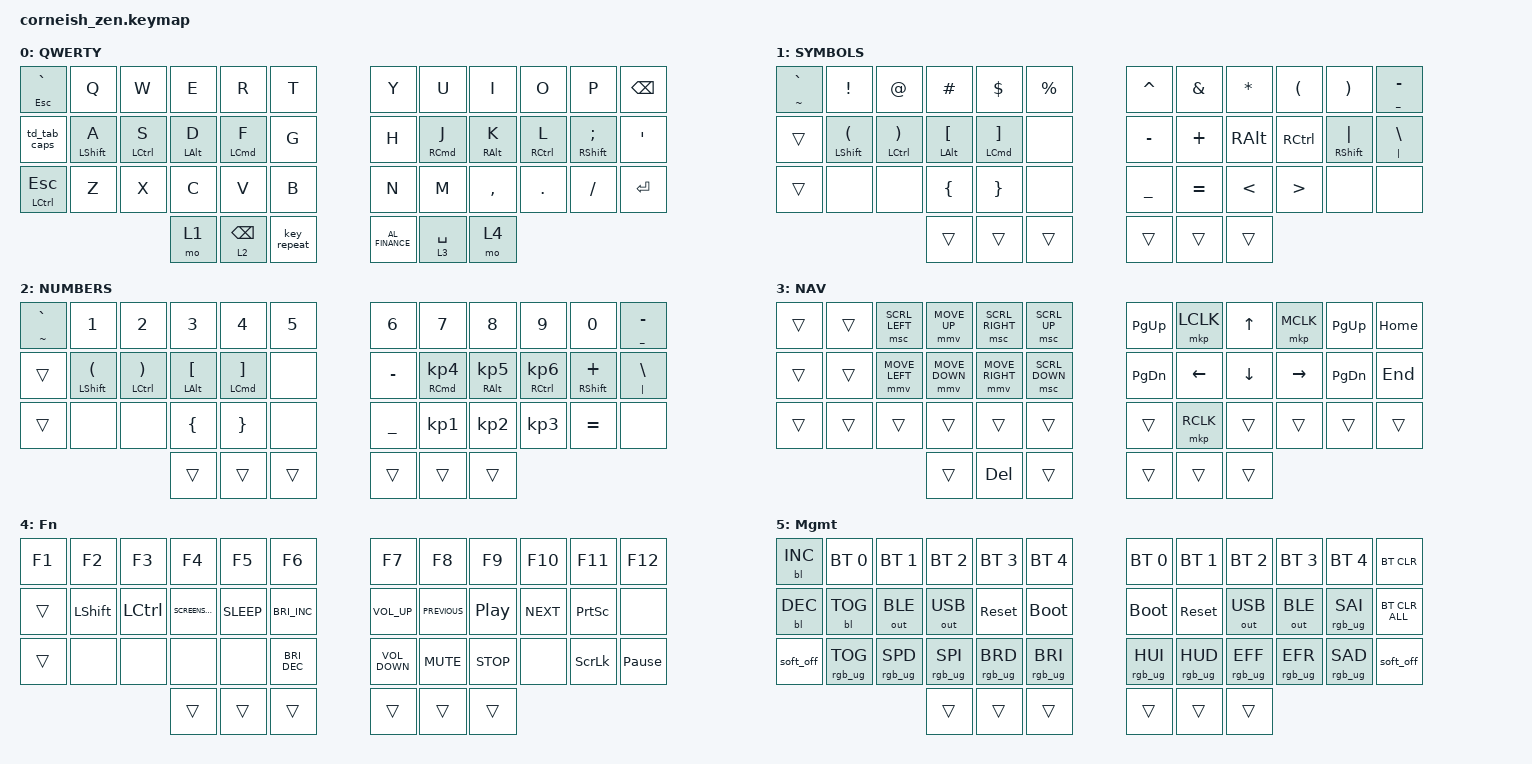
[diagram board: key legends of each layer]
/*
 * Copyright (c) 2020 The ZMK Contributors
 *
 * SPDX-License-Identifier: MIT
 */

#include <dt-bindings/zmk/mouse.h>
#include <behaviors.dtsi>
#include <dt-bindings/zmk/backlight.h>
#include <dt-bindings/zmk/bt.h>
#include <dt-bindings/zmk/keys.h>
#include <dt-bindings/zmk/outputs.h>
#include <dt-bindings/zmk/pointing.h>
#include <dt-bindings/zmk/rgb.h>

&sk {
};

&mt { flavor = "balanced"; };

/ {
    chosen {
        zmk,matrix_transform = &default_transform;

        // zmk,matrix_transform = &five_column_transform;
    };
};

/ {
    behaviors {
        td_tab_caps: td_tab_caps {
            compatible = "zmk,behavior-tap-dance";
            label = "TD_TAB_CAPS";
            #binding-cells = <0>;
            bindings = <&kp TAB>, <&none>, <&kp CAPSLOCK>;
        };

        hml: homerow_mods_left {
            compatible = "zmk,behavior-hold-tap";
            label = "HOMEROW_MODS_LEFT_HAND";
            bindings = <&kp>, <&kp>;

            #binding-cells = <2>;
            tapping-term-ms = <200>;
            hold-trigger-key-positions = <20 6 7 9 10 11 18 19 20 21 22 23 30 31 32 33 34 35 40 41 8 39 0 12 24 36 37 38>;
            flavor = "tap-preferred";
            hold-trigger-on-release;
        };

        hmr: homerow_mods_right {
            compatible = "zmk,behavior-hold-tap";
            label = "HOMEROW_MODS_RIGHT_HAND";
            bindings = <&kp>, <&kp>;

            #binding-cells = <2>;
            tapping-term-ms = <200>;
            hold-trigger-key-positions = <0 1 2 3 4 5 12 13 14 15 16 17 24 25 26 27 28 29 36 37 38 11 23 35 41 40 39>;
            flavor = "tap-preferred";
            hold-trigger-on-release;
        };

        as_ht: autoshift_hold_tap {
            compatible = "zmk,behavior-hold-tap";
            label = "AUTOSHIFT_HOLD_TAP";
            bindings = <&bl>, <&bt>;

            #binding-cells = <2>;
            tapping-term-ms = <200>;
        };

        thl: tap_hold_layer {
            compatible = "zmk,behavior-hold-tap";
            label = "TAP_HOLD_LAYER";
            bindings = <&rgb_mo>, <&rgb_mo>;

            #binding-cells = <2>;
            tapping-term-ms = <200>;
        };
    };

    macros {
        shift: with_lshift {
            compatible = "zmk,behavior-macro-one-param";
            #binding-cells = <1>;
            bindings =
                <&macro_press>,
                <&kp LEFT_SHIFT>,
                <&macro_tap>,
                <&macro_param_1to1 &kp MACRO_PLACEHOLDER>,
                <&macro_release>,
                <&kp LEFT_SHIFT>;

            label = "KEY_PRESS_WITH_LEFT_SHIFT_MODIFIER";
        };

        rgb_mo: rgb_mo {
            compatible = "zmk,behavior-macro-two-param";
            #binding-cells = <2>;
            bindings =
                <&macro_param_2to2 &rgb_ug RGB_COLOR_HSB_CMD MACRO_PLACEHOLDER &macro_param_1to1>,
                <&macro_press>,
                <&mo MACRO_PLACEHOLDER>,
                <&macro_pause_for_release>,
                <&macro_release>,
                <&macro_param_1to1 &mo MACRO_PLACEHOLDER>,
                <&macro_tap>,
                <&rgb_ug RGB_TOG>;

            label = "MOMENTARY_LAYER_WITH_RGB_SELECTION";
        };

        as: autoshift {
            compatible = "zmk,behavior-macro-one-param";
            #binding-cells = <1>;
            bindings =
                <&macro_press>,
                <&macro_param_1to1 &macro_param_1to2 &as_ht MACRO_PLACEHOLDER MACRO_PLACEHOLDER>,
                <&macro_pause_for_release>,
                <&macro_release>,
                <&macro_param_1to1 &macro_param_1to2 &as_ht MACRO_PLACEHOLDER MACRO_PLACEHOLDER>;

            label = "AUTOSHIFT_KEYPRESS";
        };

        rgb_to: rgb_to {
            compatible = "zmk,behavior-macro-two-param";
            #binding-cells = <2>;
            bindings =
                <&macro_param_2to2 &rgb_ug RGB_COLOR_HSB_CMD MACRO_PLACEHOLDER &macro_param_1to1>,
                <&macro_press>,
                <&to MACRO_PLACEHOLDER>,
                <&macro_pause_for_release>,
                <&macro_release>,
                <&macro_param_1to1 &to MACRO_PLACEHOLDER>,
                <&macro_tap>,
                <&rgb_ug RGB_TOG>;

            label = "TO_LAYER_WITH_RGB_SELECTION";
        };
    };

    combos {
        compatible = "zmk,combos";

        del {
            bindings = <&kp DELETE>;
            key-positions = <32 33>;
        };

        escape {
            bindings = <&kp ESCAPE>;
            key-positions = <2 3>;
        };

        ctrlA_L {
            bindings = <&kp LC(A)>;
            key-positions = <28 25>;
        };

        ctrlA_R {
            bindings = <&kp RC(A)>;
            key-positions = <31 34>;
        };

        cmd_tab {
            bindings = <&kp LG(TAB)>;
            key-positions = <12 38>;
        };

        colon {
            bindings = <&kp COLON>;
            key-positions = <31 22>;
        };
    };

    keymap {
        compatible = "zmk,keymap";

        default_layer {
            display-name = "QWERTY";

            // TODO: insert keymap ASCII art here
            // -----------------------------------------------------------------------------------------
            // | XXXX | XXXX| XXXX| XXXX| XXXX| XXXX|   | XXXX| XXXX| XXXX| XXXX| XXXX| XXXX |
            // | XXXX | XXXX| XXXX| XXXX| XXXX| XXXX|   | XXXX| XXXX| XXXX| XXXX| XXXX| XXXX |
            // | XXXX | XXXX| XXXX| XXXX| XXXX| XXXX|   | XXXX| XXXX| XXXX| XXXX| XXXX| XXXX |
            //                    | XXXX| XXXX| XXXX|   | XXXX| XXXX| XXXX|

            bindings = <
&mt ESCAPE GRAVE         &kp Q              &kp W                &kp E            &kp R                &kp T          &kp Y             &kp U                 &kp I             &kp O                 &kp P                       &kp BSPC
&td_tab_caps             &hml LEFT_SHIFT A  &hml LEFT_CONTROL S  &hml LEFT_ALT D  &hml LEFT_COMMAND F  &kp G          &kp H             &hmr RIGHT_COMMAND J  &hmr RIGHT_ALT K  &hmr RIGHT_CONTROL L  &hmr RIGHT_SHIFT SEMICOLON  &kp SQT
&mt LEFT_CONTROL ESCAPE  &kp Z              &kp X                &kp C            &kp V                &kp B          &kp N             &kp M                 &kp COMMA         &kp DOT               &kp FSLH                    &kp ENTER
                                                                 &mo 1            &lt 2 BACKSPACE      &key_repeat    &kp C_AL_FINANCE  &lt 3 SPACE           &mo 4
            >;
        };

        symbol_layer {
            display-name = "SYMBOLS";

            // TODO: insert keymap ASCII art here
            // -----------------------------------------------------------------------------------------
            // | XXXX | XXXX| XXXX| XXXX| XXXX| XXXX|   | XXXX| XXXX| XXXX| XXXX| XXXX| XXXX |
            // | XXXX | XXXX| XXXX| XXXX| XXXX| XXXX|   | XXXX| XXXX| XXXX| XXXX| XXXX| XXXX |
            // | XXXX | XXXX| XXXX| XXXX| XXXX| XXXX|   | XXXX| XXXX| XXXX| XXXX| XXXX| XXXX |
            //                    | XXXX| XXXX| XXXX|   | XXXX| XXXX| XXXX|

            bindings = <
&mt TILDE GRAVE  &kp EXCL                          &kp AT                               &kp HASH                    &kp DLLR                         &kp PRCNT    &kp CARET  &kp AMPS   &kp ASTRK      &kp LPAR           &kp RPAR               &mt UNDERSCORE MINUS
&trans           &hml LEFT_SHIFT LEFT_PARENTHESIS  &hml LEFT_CONTROL RIGHT_PARENTHESIS  &hml LEFT_ALT LEFT_BRACKET  &hml LEFT_COMMAND RIGHT_BRACKET  &none        &kp MINUS  &kp PLUS   &kp RIGHT_ALT  &kp RIGHT_CONTROL  &hmr RIGHT_SHIFT PIPE  &mt PIPE BACKSLASH
&trans           &none                             &none                                &kp LEFT_BRACE              &kp RIGHT_BRACE                  &none        &kp UNDER  &kp EQUAL  &kp LESS_THAN  &kp GREATER_THAN   &none                  &none
                                                                                        &trans                      &trans                           &trans       &trans     &trans     &trans
            >;
        };

        number_layer {
            display-name = "NUMBERS";

            // TODO: insert keymap ASCII art here
            // -----------------------------------------------------------------------------------------
            // | XXXX | XXXX| XXXX| XXXX| XXXX| XXXX|   | XXXX| XXXX| XXXX| XXXX| XXXX| XXXX |
            // | XXXX | XXXX| XXXX| XXXX| XXXX| XXXX|   | XXXX| XXXX| XXXX| XXXX| XXXX| XXXX |
            // | XXXX | XXXX| XXXX| XXXX| XXXX| XXXX|   | XXXX| XXXX| XXXX| XXXX| XXXX| XXXX |
            //                    | XXXX| XXXX| XXXX|   | XXXX| XXXX| XXXX|

            bindings = <
&mt TILDE GRAVE  &kp NUMBER_1                      &kp NUMBER_2                         &kp NUMBER_3                &kp NUMBER_4                     &kp NUMBER_5    &kp NUMBER_6  &kp NUMBER_7                    &kp NUMBER_8                &kp NUMBER_9                    &kp NUMBER_0           &mt UNDERSCORE MINUS
&trans           &hml LEFT_SHIFT LEFT_PARENTHESIS  &hml LEFT_CONTROL RIGHT_PARENTHESIS  &hml LEFT_ALT LEFT_BRACKET  &hml LEFT_COMMAND RIGHT_BRACKET  &none           &kp MINUS     &hml RIGHT_COMMAND KP_NUMBER_4  &hml RIGHT_ALT KP_NUMBER_5  &hml RIGHT_CONTROL KP_NUMBER_6  &hml RIGHT_SHIFT PLUS  &mt PIPE BACKSLASH
&trans           &none                             &none                                &kp LEFT_BRACE              &kp RIGHT_BRACE                  &none           &kp UNDER     &kp KP_NUMBER_1                 &kp KP_NUMBER_2             &kp KP_NUMBER_3                 &kp EQUAL              &none
                                                                                        &trans                      &trans                           &trans          &trans        &trans                          &trans
            >;
        };

        nav_layer {
            display-name = "NAV";

            // TODO: insert keymap ASCII art here
            // -----------------------------------------------------------------------------------------
            // | XXXX | XXXX| XXXX| XXXX| XXXX| XXXX|   | XXXX| XXXX| XXXX| XXXX| XXXX| XXXX |
            // | XXXX | XXXX| XXXX| XXXX| XXXX| XXXX|   | XXXX| XXXX| XXXX| XXXX| XXXX| XXXX |
            // | XXXX | XXXX| XXXX| XXXX| XXXX| XXXX|   | XXXX| XXXX| XXXX| XXXX| XXXX| XXXX |
            //                    | XXXX| XXXX| XXXX|   | XXXX| XXXX| XXXX|

            bindings = <
&trans  &trans  &msc SCRL_LEFT  &mmv MOVE_UP    &msc SCRL_RIGHT  &msc SCRL_UP      &kp PAGE_UP    &mkp LCLK       &kp UP_ARROW    &mkp MCLK        &kp PAGE_UP    &kp HOME
&trans  &trans  &mmv MOVE_LEFT  &mmv MOVE_DOWN  &mmv MOVE_RIGHT  &msc SCRL_DOWN    &kp PAGE_DOWN  &kp LEFT_ARROW  &kp DOWN_ARROW  &kp RIGHT_ARROW  &kp PAGE_DOWN  &kp END
&trans  &trans  &trans          &trans          &trans           &trans            &trans         &mkp RCLK       &trans          &trans           &trans         &trans
                                &trans          &kp DELETE       &trans            &trans         &trans          &trans
            >;
        };

        fn_layer {
            display-name = "Fn";

            // TODO: insert keymap ASCII art here
            // -----------------------------------------------------------------------------------------
            // | XXXX | XXXX| XXXX| XXXX| XXXX| XXXX|   | XXXX| XXXX| XXXX| XXXX| XXXX| XXXX |
            // | XXXX | XXXX| XXXX| XXXX| XXXX| XXXX|   | XXXX| XXXX| XXXX| XXXX| XXXX| XXXX |
            // | XXXX | XXXX| XXXX| XXXX| XXXX| XXXX|   | XXXX| XXXX| XXXX| XXXX| XXXX| XXXX |
            //                    | XXXX| XXXX| XXXX|   | XXXX| XXXX| XXXX|

            bindings = <
&kp F1  &kp F2          &kp F3            &kp F4             &kp F5       &kp F6                  &kp F7             &kp F8          &kp F9            &kp F10     &kp F11          &kp F12
&trans  &kp LEFT_SHIFT  &kp LEFT_CONTROL  &kp K_SCREENSAVER  &kp C_SLEEP  &kp C_BRIGHTNESS_INC    &kp C_VOLUME_UP    &kp C_PREVIOUS  &kp C_PLAY_PAUSE  &kp C_NEXT  &kp PRINTSCREEN  &none
&trans  &none           &none             &none              &none        &kp C_BRIGHTNESS_DEC    &kp C_VOLUME_DOWN  &kp K_MUTE      &kp C_STOP        &none       &kp SCROLLLOCK   &kp PAUSE_BREAK
                                          &trans             &trans       &trans                  &trans             &trans          &trans
            >;
        };

        mgmt_layer {
            display-name = "Mgmt";

            // TODO: insert keymap ASCII art here
            // -----------------------------------------------------------------------------------------
            // | XXXX | XXXX| XXXX| XXXX| XXXX| XXXX|   | XXXX| XXXX| XXXX| XXXX| XXXX| XXXX |
            // | XXXX | XXXX| XXXX| XXXX| XXXX| XXXX|   | XXXX| XXXX| XXXX| XXXX| XXXX| XXXX |
            // | XXXX | XXXX| XXXX| XXXX| XXXX| XXXX|   | XXXX| XXXX| XXXX| XXXX| XXXX| XXXX |
            //                    | XXXX| XXXX| XXXX|   | XXXX| XXXX| XXXX|

            bindings = <
&bl BL_INC  &bt BT_SEL 0     &bt BT_SEL 1     &bt BT_SEL 2     &bt BT_SEL 3     &bt BT_SEL 4       &bt BT_SEL 0     &bt BT_SEL 1     &bt BT_SEL 2     &bt BT_SEL 3     &bt BT_SEL 4     &bt BT_CLR
&bl BL_DEC  &bl BL_TOG       &out OUT_BLE     &out OUT_USB     &sys_reset       &bootloader        &bootloader      &sys_reset       &out OUT_USB     &out OUT_BLE     &rgb_ug RGB_SAI  &bt BT_CLR_ALL
&soft_off   &rgb_ug RGB_TOG  &rgb_ug RGB_SPD  &rgb_ug RGB_SPI  &rgb_ug RGB_BRD  &rgb_ug RGB_BRI    &rgb_ug RGB_HUI  &rgb_ug RGB_HUD  &rgb_ug RGB_EFF  &rgb_ug RGB_EFR  &rgb_ug RGB_SAD  &soft_off
                                              &trans           &trans           &trans             &trans           &trans           &trans
            >;
        };
    };

    conditional_layers {
        compatible = "zmk,conditional-layers";

        Mgmt-LL {
            if-layers = <1 2>;
            then-layer = <5>;
        };

        Mgmt-RR {
            if-layers = <3 4>;
            then-layer = <5>;
        };
    };
};
